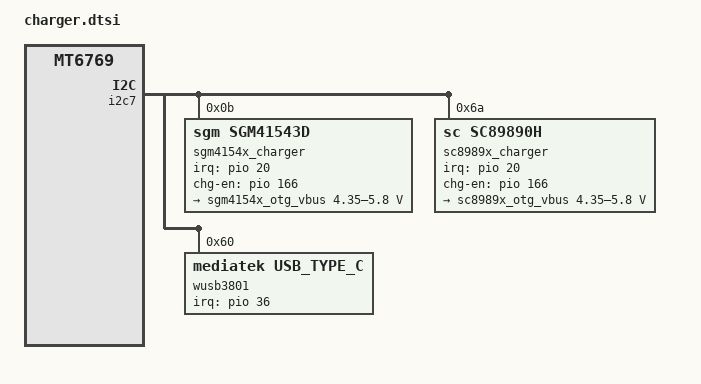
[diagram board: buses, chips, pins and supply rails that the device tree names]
/*
 * Contain all of the charger, qc3+, cc logic, charger pump dts configuration
 *
 * I2C Slave Address of SGM41541/SGM41542 is: 0x3B
 * I2C Slave Address of SGM41516/SGM41516D is: 0x6B
 */

/ {
    chg_pmup_eint:chg_pmup_eint{
    };

    main_chg_pmu_eint:main_chg_pmu_eint{
    };

    cc_cntl_eint:cc_cntl_eint{
    };

    iddig_otg:iddig_otg{
    };
};

&charger {
        ac_charger_current = <2050000>;
        min_charger_voltage = <4600000>;
};

&i2c7 {
    sgm4154x_charger: sgm4154x@0B {
        status = "okay";
        compatible = "sgm,sgm41543D";
        reg = <0x0B>;
        interrupt-parent = <&pio>;
        interrupts = <20 0>;            //irq num base on hardware design
        sgm,irq-gpio = <&pio 20 0>;     //irq num base on hardware design
        sgm,chg-en-gpio = <&pio 166 0>;   //gpio num base on hardware design  1.MTK parent node name is pio  2.QUALCOMM parent node name is tlmm or other
        sgm,is-advanced = <18>;   //High and Low Configuration
        input-voltage-limit-microvolt = <4600000>;
        /* sw jeita  parameter customer defined*/
        //enable_sw_jeita;
        jeita_temp_above_t4_cv = <0>;
        jeita_temp_t3_to_t4_cv = <4100000>;
        jeita_temp_t2_to_t3_cv = <4350000>;
        jeita_temp_t1_to_t2_cv = <4350000>;
        jeita_temp_t0_to_t1_cv = <0>;
        jeita_temp_below_t0_cv = <0>;

        jeita_temp_above_t4_cc_current = <0>;
        jeita_temp_t3_to_t4_cc_current = <1000000>;
        jeita_temp_t2_to_t3_cc_current = <1250000>;
        jeita_temp_t1_to_t2_cc_current = <1000000>;
        jeita_temp_below_t0_cc_current = <0>;

        temp_t4_thres = <50>;
        temp_t4_thres_minus_x_degree = <48>;
        temp_t3_thres = <45>;
        temp_t3_thres_minus_x_degree = <45>;
        temp_t2_thres = <20>;
        temp_t2_thres_plus_x_degree = <15>;
        temp_t1_thres = <0>;
        temp_t1_thres_plus_x_degree = <0>;
        temp_t0_thres = <0>;
        temp_t0_thres_plus_x_degree = <2>;
        temp_neg_10_thres = <0>;
        sgm4154x_otg_vbus: usb-otg-vbus {
            regulator-compatible = "usb-otg-vbus";
            regulator-name = "usb-otg-vbus";
            regulator-min-microvolt = <4350000>;
            regulator-max-microvolt = <5800000>;
            regulator-min-microamp = <500000>;
            regulator-max-microamp = <3000000>;
        };
    };

    sc8989x_charger:sc89890h@6A{
        compatible = "sc,sc89890h";
        reg = <0x6A>;
        interrupt-parent = <&pio>;
        interrupts = <20 0>;            //irq num base on hardware design
        sc,irq-gpio = <&pio 20 0>;     //irq num base on hardware design
        sc,chg-en-gpio = <&pio 166 0>;   //gpio num base on hardware design

        charger_name = "primary_chg";
        eint_name = "chr_stat";
        alias_name = "sc8989x";

        input-voltage-limit-microvolt = <4600000>;
        sc,sc8989x,usb-vlim = <4600>;
        sc,sc8989x,usb-ilim = <2000>;
        sc,sc8989x,term-current = <243>;
        sc,sc8989x,usb-ichg = <500>;
        sc,sc8989x,precharge-current = <120>;
        sc,sc8989x,boost-voltage = <5000>;
        sc,sc8989x,boost-current = <1200>;
        sc,sc8989x,usb-vreg = <4450>;

        sc8989x_otg_vbus: usb-otg-vbus {
                regulator-compatible = "sc8989x,otg-vbus";
                regulator-name = "usb-otg-vbus";
                regulator-min-microvolt = <4350000>;
                regulator-max-microvolt = <5800000>;
                regulator-min-microamp = <500000>;
                regulator-max-microamp = <3000000>;
        };
    };

    wusb3801@60 {
        status = "okay";
        compatible = "mediatek,usb_type_c";
        reg = <0x60>;
        interrupt-parent = <&pio>;
        interrupts = <36 0>;
        wusb3801,irq-gpio = <&pio 36 0x0>;
        };
};

&bat_gm30 {
    #include "mediatek/bat_setting/mt6769_battery_table_ext_NH50_SUNWOD.dtsi"
    #include "mediatek/bat_setting/mt6769_battery_table_ext_NH50_ATL.dtsi"
    #include "mediatek/bat_setting/mt6769_battery_table_ext_PH50_SUNWOD.dtsi"
    #include "mediatek/bat_setting/mt6769_battery_table_ext_PH50_ATL.dtsi"
};

&bat_gm30 {
    DIFFERENCE_FULLOCV_ITH = <(350)>;//
    R_FG_VALUE = <(5)>;
    CURR_MEASURE_20A = <(0)>;
    UNIT_MULTIPLE = <(1)>;
    EMBEDDED_SEL = <(1)>;   /* embedded battery*/
    COM_FG_METER_RESISTANCE = <(60)>;
    CAR_TUNE_VALUE = <(99)>;
    FG_METER_RESISTANCE = <(60)>; /*  The resistance of PCB*/

    g_Q_MAX = <
        /*bat1,   bat2,   bat3,    bat4*/
        4868 4923 4765 4895/*T0*/
        4914 4897 4847 4990/*T1*/
        4906 5009 4859 4962/*T2*/
        4935 5027 4842 4964/*T3*/
        4803 4934 4646 4945/*T4*/
        3488 3488 3488 3488/*T5*/
        3488 3488 3488 3488/*T6*/
        3488 3488 3488 3488/*T7*/
        3488 3488 3488 3488/*T8*/
        3488 3488 3488 3488/*T9*/
    >;

    g_Q_MAX_H_CURRENT = <
        /*bat1,   bat2,   bat3,    bat4*/
        4849 4891 4749 4866/*T0*/
        4892 4810 4824 4957/*T1*/
        4867 4851 4816 4852/*T2*/
        4786 4374 4672 4350/*T3*/
        4552 3202 4325 3172/*T4*/
        3488 3488 3488 3488/*T5*/
        3488 3488 3488 3488/*T6*/
        3488 3488 3488 3488/*T7*/
        3488 3488 3488 3488/*T8*/
        3488 3488 3488 3488/*T9*/
    >;

    g_FG_PSEUDO100 = <
        /*bat1,   bat2,   bat3,    bat4*/
        98 98 93 97/*T0*/
        98 98 93 97/*T1*/
        98 98 93 97/*T2*/
        98 98 93 97/*T3*/
        98 98 93 97/*T4*/
        100 100 100 100/*T5*/
        100 100 100 100/*T6*/
        100 100 100 100/*T7*/
        100 100 100 100/*T8*/
        100 100 100 100/*T9*/
    >;
};
